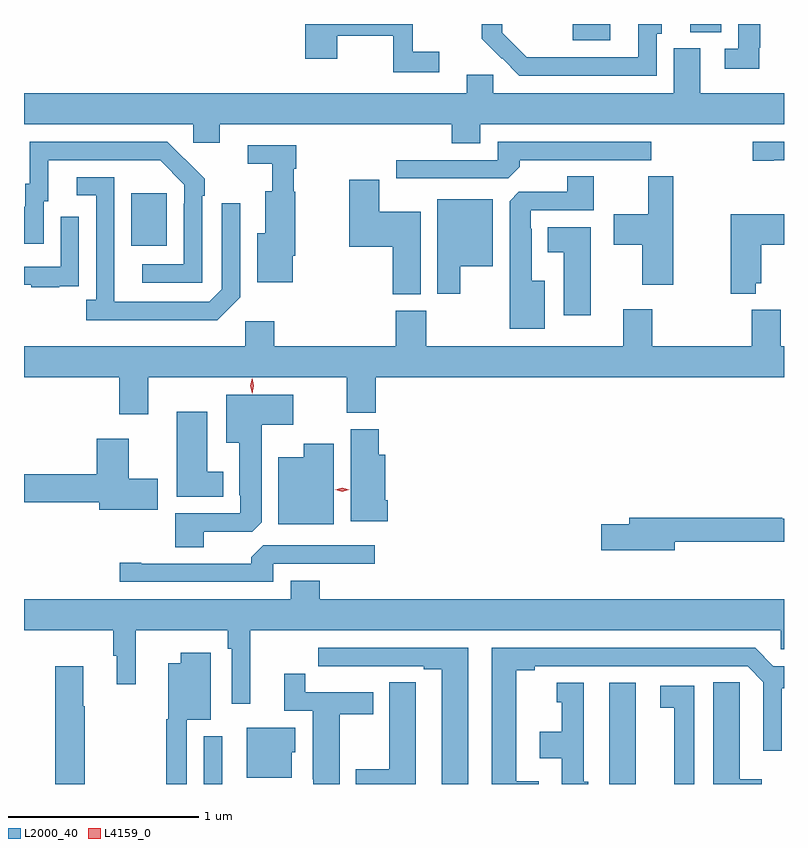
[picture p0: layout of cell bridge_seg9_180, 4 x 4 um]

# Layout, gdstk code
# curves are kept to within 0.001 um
import gdstk
lib = gdstk.Library(unit=1e-6, precision=1e-09)
def R(c, l, rs):  # rectangles x0, y0, x1, y1
    for r in rs: c.add(gdstk.rectangle(r[:2], r[2:], *l))
def P(c, l, *ps):  # polygons
    for p in ps: c.add(gdstk.Polygon(p, *l))
L2000_40 = (2000, 40)
L4159_0 = (4159, 0)

bridge_seg9_180 = lib.new_cell('bridge_seg9_180')
R(bridge_seg9_180, L2000_40, [(149.703,1242.232,149.8,1242.484), (151.838,1242.232,151.978,1242.766), (149.321,1245.065,149.509,1245.34), (151.644,1246.146,151.843,1246.232), (152.264,1246.189,152.428,1246.232)])
P(bridge_seg9_180, L2000_40, [(152.626,1246.108),(152.633,1246.108),(152.633,1246.232),(152.517,1246.232),(152.517,1246.101),(152.445,1246.101),(152.445,1245.996),(152.626,1245.996)],
  [(152.088,1246.182),(152.113,1246.182),(152.113,1246.232),(151.991,1246.232),(151.991,1246.056),(151.404,1246.057),(151.275,1246.185),(151.275,1246.232),(151.167,1246.232),(151.167,1246.155),(151.364,1245.96),(152.088,1245.96)],
  [(150.943,1246.087),(150.803,1246.087),(150.803,1246.232),(150.236,1246.232),(150.236,1246.05),(150.406,1246.05),(150.406,1246.17),(150.7,1246.17),(150.7,1245.978),(150.943,1245.978)],
  [(152.757,1245.868),(152.317,1245.868),(152.317,1246.104),(152.177,1246.104),(152.177,1245.868),(151.227,1245.868),(151.227,1245.966),(151.088,1245.966),(151.088,1245.868),(148.757,1245.868),(148.757,1245.704),(149.649,1245.704),(149.649,1245.606),(149.788,1245.606),(149.788,1245.704),(151.007,1245.704),(151.007,1245.605),(151.159,1245.605),(151.159,1245.704),(152.757,1245.704)],
  [(151.367,1245.482),(151.367,1245.516),(152.059,1245.516),(152.059,1245.612),(151.251,1245.612),(151.251,1245.516),(150.717,1245.516),(150.717,1245.42),(151.305,1245.42)],
  [(152.704,1245.516),(152.757,1245.516),(152.757,1245.612),(152.592,1245.612),(152.592,1245.511),(152.704,1245.511)],
  [(149.694,1245.329),(149.709,1245.329),(149.709,1245.417),(149.512,1245.612),(148.788,1245.612),(148.788,1245.39),(148.763,1245.39),(148.763,1245.271),(148.757,1245.271),(148.757,1245.075),(148.861,1245.075),(148.861,1245.3),(148.885,1245.3),(148.885,1245.516),(149.473,1245.516),(149.601,1245.387),(149.601,1245.287),(149.598,1245.287),(149.598,1244.967),(149.379,1244.967),(149.379,1244.871),(149.694,1244.871)],
  [(150.172,1245.012),(150.184,1245.012),(150.184,1245.348),(150.176,1245.348),(150.176,1245.47),(150.191,1245.47),(150.191,1245.594),(149.934,1245.594),(149.934,1245.497),(150.063,1245.497),(150.063,1245.352),(150.026,1245.352),(150.026,1245.13),(149.984,1245.13),(149.984,1244.873),(150.172,1244.873)],
  [(151.498,1244.881),(151.429,1244.881),(151.429,1245.155),(151.425,1245.155),(151.425,1245.252),(151.756,1245.252),(151.756,1245.431),(151.616,1245.431),(151.616,1245.348),(151.362,1245.348),(151.313,1245.299),(151.313,1244.627),(151.498,1244.627)],
  [(152.175,1245.43),(152.042,1245.43),(152.042,1245.232),(151.86,1245.232),(151.86,1245.07),(152.012,1245.07),(152.012,1244.859),(152.175,1244.859)],
  [(149.895,1244.793),(149.895,1245.289),(149.799,1245.289),(149.799,1244.835),(149.733,1244.769),(149.233,1244.769),(149.232,1245.426),(149.034,1245.426),(149.034,1245.33),(149.136,1245.33),(149.136,1244.782),(149.085,1244.782),(149.085,1244.672),(149.774,1244.672)],
  [(150.844,1245.244),(150.628,1245.244),(150.628,1245.412),(150.47,1245.412),(150.47,1245.059),(150.698,1245.059),(150.698,1244.809),(150.844,1244.809)],
  [(151.054,1244.957),(151.225,1244.957),(151.225,1245.31),(150.932,1245.31),(150.932,1244.811),(151.054,1244.811)],
  [(152.608,1244.867),(152.638,1244.867),(152.638,1245.07),(152.757,1245.07),(152.757,1245.232),(152.476,1245.232),(152.476,1244.813),(152.608,1244.813)],
  [(148.943,1244.853),(149.045,1244.853),(149.045,1244.962),(149.046,1244.962),(149.046,1245.217),(148.95,1245.217),(148.95,1244.955),(148.757,1244.955),(148.757,1244.859),(148.795,1244.859),(148.795,1244.847),(148.943,1244.847)],
  [(151.741,1245.163),(151.514,1245.163),(151.514,1245.032),(151.598,1245.032),(151.598,1244.7),(151.741,1244.7)],
  [(149.41,1244.372),(150.455,1244.372),(150.455,1244.185),(150.608,1244.185),(150.608,1244.372),(152.757,1244.372),(152.757,1244.536),(152.74,1244.536),(152.74,1244.728),(152.588,1244.728),(152.588,1244.536),(152.063,1244.536),(152.063,1244.731),(151.91,1244.731),(151.91,1244.536),(150.873,1244.536),(150.873,1244.724),(150.713,1244.724),(150.713,1244.536),(150.074,1244.536),(150.074,1244.668),(149.922,1244.668),(149.922,1244.536),(148.757,1244.536),(148.757,1244.372),(149.258,1244.372),(149.258,1244.178),(149.41,1244.178)],
  [(149.704,1243.56),(149.958,1243.56),(150.007,1243.609),(150.007,1244.123),(150.175,1244.123),(150.175,1244.281),(149.822,1244.281),(149.822,1244.027),(149.891,1244.027),(149.891,1243.753),(149.895,1243.753),(149.895,1243.656),(149.552,1243.656),(149.552,1243.477),(149.704,1243.477)],
  [(149.806,1243.876),(149.722,1243.876),(149.722,1244.191),(149.561,1244.191),(149.561,1243.745),(149.806,1243.745)],
  [(150.671,1243.726),(150.658,1243.726),(150.658,1243.966),(150.623,1243.966),(150.623,1244.1),(150.476,1244.1),(150.476,1243.614),(150.671,1243.614)],
  [(149.461,1243.839),(149.308,1243.839),(149.308,1244.05),(149.141,1244.05),(149.141,1243.862),(148.757,1243.862),(148.757,1243.715),(149.153,1243.715),(149.153,1243.676),(149.461,1243.676)],
  [(150.388,1244.023),(150.23,1244.023),(150.23,1243.951),(150.095,1243.951),(150.095,1243.598),(150.388,1243.598)],
  [(152.182,1243.506),(152.757,1243.506),(152.757,1243.627),(152.747,1243.627),(152.747,1243.634),(151.943,1243.634),(151.943,1243.598),(151.794,1243.598),(151.794,1243.463),(152.182,1243.463)],
  [(150.069,1243.392),(150.604,1243.392),(150.604,1243.488),(150.015,1243.488),(149.954,1243.426),(149.954,1243.392),(149.374,1243.392),(149.374,1243.397),(149.262,1243.397),(149.262,1243.296),(150.069,1243.296)],
  [(149.948,1243.04),(152.739,1243.04),(152.739,1242.942),(152.757,1242.942),(152.757,1243.204),(150.314,1243.204),(150.314,1243.303),(150.161,1243.303),(150.161,1243.204),(148.757,1243.204),(148.757,1243.04),(149.227,1243.04),(149.227,1242.906),(149.246,1242.906),(149.246,1242.756),(149.346,1242.756),(149.346,1243.04),(149.83,1243.04),(149.83,1242.944),(149.85,1242.944),(149.85,1242.654),(149.948,1242.654)],
  [(151.096,1242.948),(150.306,1242.948),(150.306,1242.852),(150.418,1242.852),(150.418,1242.851),(150.584,1242.851),(150.584,1242.852),(150.86,1242.852),(150.86,1242.837),(150.956,1242.837),(150.956,1242.232),(151.096,1242.232)],
  [(151.465,1242.246),(151.348,1242.246),(151.348,1242.832),(151.444,1242.832),(151.444,1242.852),(152.565,1242.852),(152.649,1242.768),(152.649,1242.408),(152.746,1242.408),(152.746,1242.736),(152.757,1242.736),(152.757,1242.852),(152.701,1242.852),(152.605,1242.948),(151.22,1242.948),(151.22,1242.232),(151.465,1242.232)],
  [(149.613,1242.569),(149.74,1242.569),(149.74,1242.922),(149.582,1242.922),(149.582,1242.868),(149.516,1242.868),(149.516,1242.573),(149.505,1242.573),(149.505,1242.232),(149.613,1242.232)],
  [(149.076,1242.64),(149.068,1242.64),(149.068,1242.853),(148.922,1242.853),(148.922,1242.232),(149.076,1242.232)],
  [(150.418,1242.598),(150.595,1242.598),(150.595,1242.714),(150.236,1242.714),(150.236,1242.811),(150.128,1242.811),(150.128,1242.618),(150.278,1242.618),(150.278,1242.256),(150.279,1242.256),(150.279,1242.232),(150.418,1242.232)],
  [(152.641,1242.256),(152.524,1242.256),(152.524,1242.659),(152.523,1242.659),(152.523,1242.767),(152.384,1242.767),(152.384,1242.232),(152.641,1242.232)],
  [(150.82,1242.659),(150.819,1242.659),(150.819,1242.767),(150.68,1242.767),(150.68,1242.309),(150.503,1242.309),(150.503,1242.232),(150.82,1242.232)],
  [(151.726,1242.243),(151.702,1242.243),(151.702,1242.766),(151.562,1242.766),(151.562,1242.663),(151.586,1242.663),(151.586,1242.508),(151.472,1242.508),(151.472,1242.368),(151.586,1242.368),(151.586,1242.232),(151.726,1242.232)],
  [(152.284,1242.75),(152.106,1242.75),(152.106,1242.634),(152.18,1242.634),(152.18,1242.232),(152.284,1242.232)],
  [(150.166,1242.399),(150.184,1242.399),(150.184,1242.529),(149.93,1242.529),(149.93,1242.266),(150.166,1242.266)])
P(bridge_seg9_180, L4159_0, [(150.432,1243.771),(150.396,1243.781),(150.395,1243.782),(150.396,1243.782),(150.433,1243.791),(150.47,1243.781),(150.47,1243.78),(150.47,1243.78)],
  [(149.957,1244.286),(149.957,1244.286),(149.947,1244.327),(149.957,1244.367),(149.957,1244.367),(149.957,1244.367),(149.967,1244.327),(149.958,1244.286)])

lib.write_gds('bridge_seg9_180.gds')
